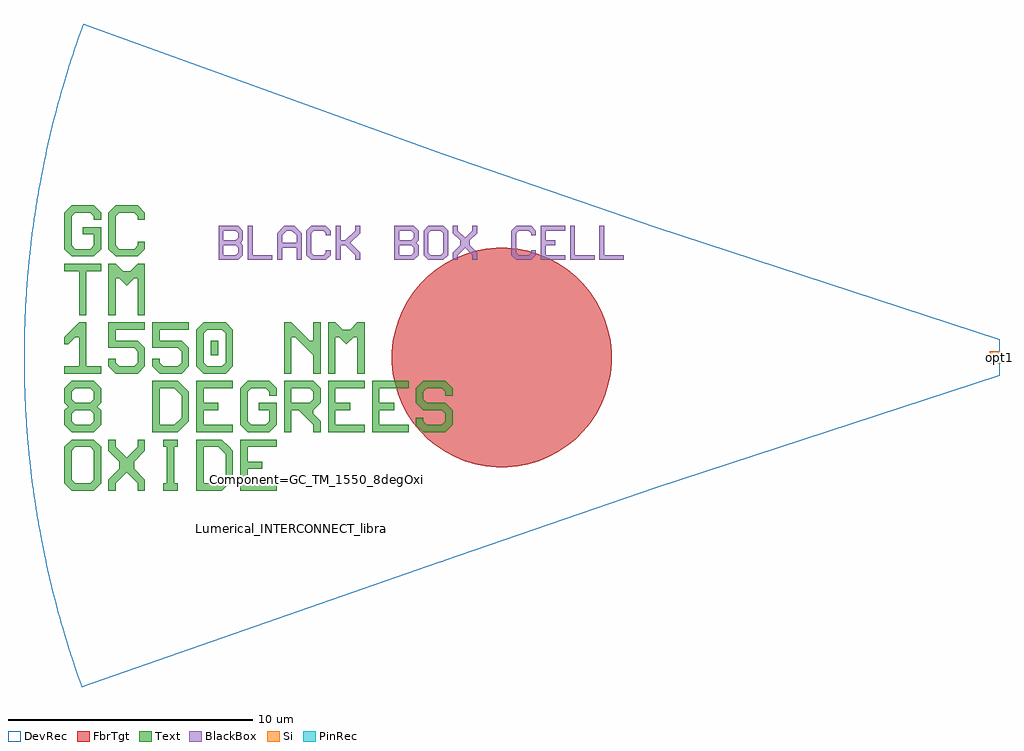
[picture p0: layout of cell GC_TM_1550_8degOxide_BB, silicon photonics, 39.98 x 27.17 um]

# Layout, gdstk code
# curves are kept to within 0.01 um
import gdstk
lib = gdstk.Library(unit=1e-6, precision=1e-09)
def R(c, l, rs):  # rectangles x0, y0, x1, y1
    for r in rs: c.add(gdstk.rectangle(r[:2], r[2:], *l))
def P(c, l, *ps):  # polygons
    for p in ps: c.add(gdstk.Polygon(p, *l))
Si = (1, 0)
PinRec = (1, 10)
Text = (10, 0)
DevRec = (68, 0)
FbrTgt = (81, 0)
BlackBox = (998, 0)

text = lib.new_cell('TEXT')
P(text, BlackBox, [(0,0),(0,1.4),(0.8,1.4),(1,1.2),(0.2,1.2),(0.2,0.8),(0.7,0.8),(0.8,0.9),(0.8,1.1),(0.7,1.2),(1,1.2),(1,0.8),(0.9,0.7),(1,0.6),(0.2,0.6),(0.2,0.2),(0.7,0.2),(0.8,0.3),(0.8,0.5),(0.7,0.6),(1,0.6),(1,0.2),(0.8,0)],
  [(1.2,0),(1.2,1.4),(1.4,1.4),(1.4,0.2),(2.2,0.2),(2.2,0)],
  [(2.4,0),(2.4,1.1),(2.7,1.4),(3.1,1.4),(3.3,1.2),(2.8,1.2),(2.6,1),(2.6,0.7),(3.2,0.7),(3.2,1),(3,1.2),(3.3,1.2),(3.4,1.1),(3.4,0),(3.2,0),(3.2,0.5),(2.6,0.5),(2.6,0)],
  [(3.8,0),(3.6,0.2),(3.6,1.2),(3.8,1.4),(4.4,1.4),(4.6,1.2),(4.6,1),(4.4,1),(4.4,1.1),(4.3,1.2),(3.9,1.2),(3.8,1.1),(3.8,0.3),(3.9,0.2),(4.3,0.2),(4.4,0.3),(4.4,0.4),(4.6,0.4),(4.6,0.2),(4.4,0)],
  [(4.8,0),(4.8,1.4),(5,1.4),(5,0.8),(5.2,0.8),(5.6,1.2),(5.6,1.4),(5.8,1.4),(5.8,1.1),(5.4,0.7),(5.8,0.3),(5.8,0),(5.6,0),(5.6,0.2),(5.2,0.6),(5,0.6),(5,0)],
  [(7.2,0),(7.2,1.4),(8,1.4),(8.2,1.2),(7.4,1.2),(7.4,0.8),(7.9,0.8),(8,0.9),(8,1.1),(7.9,1.2),(8.2,1.2),(8.2,0.8),(8.1,0.7),(8.2,0.6),(7.4,0.6),(7.4,0.2),(7.9,0.2),(8,0.3),(8,0.5),(7.9,0.6),(8.2,0.6),(8.2,0.2),(8,0)],
  [(8.6,0),(8.4,0.2),(8.4,1.2),(8.6,1.4),(9.2,1.4),(9.4,1.2),(9.4,0.7),(9.2,0.7),(9.2,1.1),(9.1,1.2),(8.7,1.2),(8.6,1.1),(8.6,0.3),(8.7,0.2),(9.1,0.2),(9.2,0.3),(9.2,0.7),(9.4,0.7),(9.4,0.2),(9.2,0)],
  [(9.6,0),(9.6,0.3),(9.9,0.6),(9.9,0.8),(9.6,1.1),(9.6,1.4),(9.8,1.4),(9.8,1.2),(10.1,0.9),(10.4,1.2),(10.4,1.4),(10.6,1.4),(10.6,1.1),(10.3,0.8),(10.3,0.6),(10.6,0.3),(10.6,0),(10.4,0),(10.4,0.2),(10.1,0.5),(9.8,0.2),(9.8,0)],
  [(12.2,0),(12,0.2),(12,1.2),(12.2,1.4),(12.8,1.4),(13,1.2),(13,1),(12.8,1),(12.8,1.1),(12.7,1.2),(12.3,1.2),(12.2,1.1),(12.2,0.3),(12.3,0.2),(12.7,0.2),(12.8,0.3),(12.8,0.4),(13,0.4),(13,0.2),(12.8,0)],
  [(13.2,0),(13.2,1.4),(14.2,1.4),(14.2,1.2),(13.4,1.2),(13.4,0.8),(13.8,0.8),(13.8,0.6),(13.4,0.6),(13.4,0.2),(14.2,0.2),(14.2,0)],
  [(14.4,0),(14.4,1.4),(14.6,1.4),(14.6,0.2),(15.4,0.2),(15.4,0)],
  [(15.6,0),(15.6,1.4),(15.8,1.4),(15.8,0.2),(16.6,0.2),(16.6,0)])

gc_tm_1550_8degoxide_bb = lib.new_cell('GC_TM_1550_8degOxide_BB')
R(gc_tm_1550_8degoxide_bb, Si, [(-0.4,-0.25,0,0.25)])
R(gc_tm_1550_8degoxide_bb, Text, [(-32.313,0.092,-32.013,0.692)])
P(gc_tm_1550_8degoxide_bb, Text, [(-37.713,1.742),(-37.713,3.542),(-38.313,3.542),(-38.313,3.842),(-36.813,3.842),(-36.813,3.542),(-37.413,3.542),(-37.413,1.742)],
  [(-38.013,-5.458),(-38.313,-5.158),(-38.313,-3.658),(-38.013,-3.358),(-37.113,-3.358),(-36.813,-3.658),(-36.813,-4.408),(-37.113,-4.408),(-37.113,-3.808),(-37.263,-3.658),(-37.863,-3.658),(-38.013,-3.808),(-38.013,-5.008),(-37.863,-5.158),(-37.263,-5.158),(-37.113,-5.008),(-37.113,-4.408),(-36.813,-4.408),(-36.813,-5.158),(-37.113,-5.458)],
  [(-31.113,-5.458),(-31.113,-3.358),(-29.613,-3.358),(-29.613,-3.658),(-30.813,-3.658),(-30.813,-4.258),(-30.213,-4.258),(-30.213,-4.558),(-30.813,-4.558),(-30.813,-5.158),(-29.613,-5.158),(-29.613,-5.458)],
  [(-32.913,-3.058),(-32.913,-0.958),(-31.413,-0.958),(-31.413,-1.258),(-32.613,-1.258),(-32.613,-1.858),(-32.013,-1.858),(-32.013,-2.158),(-32.613,-2.158),(-32.613,-2.758),(-31.413,-2.758),(-31.413,-3.058)],
  [(-27.513,-3.058),(-27.513,-0.958),(-26.013,-0.958),(-26.013,-1.258),(-27.213,-1.258),(-27.213,-1.858),(-26.613,-1.858),(-26.613,-2.158),(-27.213,-2.158),(-27.213,-2.758),(-26.013,-2.758),(-26.013,-3.058)],
  [(-25.713,-3.058),(-25.713,-0.958),(-24.213,-0.958),(-24.213,-1.258),(-25.413,-1.258),(-25.413,-1.858),(-24.813,-1.858),(-24.813,-2.158),(-25.413,-2.158),(-25.413,-2.758),(-24.213,-2.758),(-24.213,-3.058)],
  [(-29.313,-0.658),(-29.313,1.442),(-29.013,1.442),(-28.263,0.692),(-28.113,0.692),(-28.113,1.442),(-27.813,1.442),(-27.813,-0.658),(-28.113,-0.658),(-28.113,0.092),(-28.863,0.842),(-29.013,0.842),(-29.013,-0.658)],
  [(-34.263,-5.458),(-34.263,-5.158),(-34.113,-5.158),(-34.113,-3.658),(-34.263,-3.658),(-34.263,-3.358),(-33.663,-3.358),(-33.663,-3.658),(-33.813,-3.658),(-33.813,-5.158),(-33.663,-5.158),(-33.663,-5.458)],
  [(-36.213,4.142),(-36.513,4.442),(-36.513,5.942),(-36.213,6.242),(-35.313,6.242),(-35.013,5.942),(-35.013,5.642),(-35.313,5.642),(-35.313,5.792),(-35.463,5.942),(-36.063,5.942),(-36.213,5.792),(-36.213,4.592),(-36.063,4.442),(-35.463,4.442),(-35.313,4.592),(-35.313,4.742),(-35.013,4.742),(-35.013,4.442),(-35.313,4.142)],
  [(-27.513,-0.658),(-27.513,1.442),(-27.213,1.442),(-26.913,1.142),(-26.613,1.142),(-26.313,1.442),(-26.013,1.442),(-26.013,-0.658),(-26.313,-0.658),(-26.313,0.842),(-26.463,0.842),(-26.763,0.542),(-27.063,0.842),(-27.213,0.842),(-27.213,-0.658)],
  [(-36.513,1.742),(-36.513,3.842),(-36.213,3.842),(-35.913,3.542),(-35.613,3.542),(-35.313,3.842),(-35.013,3.842),(-35.013,1.742),(-35.313,1.742),(-35.313,3.242),(-35.463,3.242),(-35.763,2.942),(-36.063,3.242),(-36.213,3.242),(-36.213,1.742)],
  [(-32.613,-0.658),(-32.913,-0.358),(-32.913,1.142),(-32.613,1.442),(-31.713,1.442),(-31.413,1.142),(-32.463,1.142),(-32.613,0.992),(-32.613,-0.208),(-32.463,-0.358),(-31.863,-0.358),(-31.713,-0.208),(-31.713,0.992),(-31.863,1.142),(-31.413,1.142),(-31.413,-0.358),(-31.713,-0.658)],
  [(-32.913,-5.458),(-32.913,-3.358),(-31.863,-3.358),(-31.563,-3.658),(-32.613,-3.658),(-32.613,-5.158),(-32.013,-5.158),(-31.713,-4.858),(-31.713,-3.958),(-32.013,-3.658),(-31.563,-3.658),(-31.413,-3.808),(-31.413,-5.008),(-31.863,-5.458)],
  [(-34.713,-3.058),(-34.713,-0.958),(-33.663,-0.958),(-33.363,-1.258),(-34.413,-1.258),(-34.413,-2.758),(-33.813,-2.758),(-33.513,-2.458),(-33.513,-1.558),(-33.813,-1.258),(-33.363,-1.258),(-33.213,-1.408),(-33.213,-2.608),(-33.663,-3.058)],
  [(-23.613,-3.058),(-23.913,-2.758),(-23.913,-2.458),(-23.613,-2.458),(-23.613,-2.608),(-23.463,-2.758),(-22.863,-2.758),(-22.713,-2.608),(-22.713,-2.308),(-22.863,-2.158),(-23.613,-2.158),(-23.913,-1.858),(-23.913,-1.258),(-23.613,-0.958),(-22.713,-0.958),(-22.413,-1.258),(-22.413,-1.558),(-22.713,-1.558),(-22.713,-1.408),(-22.863,-1.258),(-23.463,-1.258),(-23.613,-1.408),(-23.613,-1.708),(-23.463,-1.858),(-22.713,-1.858),(-22.413,-2.158),(-22.413,-2.758),(-22.713,-3.058)],
  [(-36.213,-0.658),(-36.513,-0.358),(-36.513,-0.058),(-36.213,-0.058),(-36.213,-0.208),(-36.063,-0.358),(-35.463,-0.358),(-35.313,-0.208),(-35.313,0.242),(-35.463,0.392),(-36.513,0.392),(-36.513,1.442),(-35.013,1.442),(-35.013,1.142),(-36.213,1.142),(-36.213,0.692),(-35.313,0.692),(-35.013,0.392),(-35.013,-0.358),(-35.313,-0.658)],
  [(-34.413,-0.658),(-34.713,-0.358),(-34.713,-0.058),(-34.413,-0.058),(-34.413,-0.208),(-34.263,-0.358),(-33.663,-0.358),(-33.513,-0.208),(-33.513,0.242),(-33.663,0.392),(-34.713,0.392),(-34.713,1.442),(-33.213,1.442),(-33.213,1.142),(-34.413,1.142),(-34.413,0.692),(-33.513,0.692),(-33.213,0.392),(-33.213,-0.358),(-33.513,-0.658)],
  [(-38.013,-3.058),(-38.313,-2.758),(-38.313,-2.158),(-38.163,-2.008),(-38.313,-1.858),(-38.313,-1.258),(-38.013,-0.958),(-37.113,-0.958),(-36.813,-1.258),(-37.863,-1.258),(-38.013,-1.408),(-38.013,-1.708),(-37.863,-1.858),(-37.263,-1.858),(-37.113,-1.708),(-37.113,-1.408),(-37.263,-1.258),(-36.813,-1.258),(-36.813,-1.858),(-36.963,-2.008),(-36.813,-2.158),(-37.863,-2.158),(-38.013,-2.308),(-38.013,-2.608),(-37.863,-2.758),(-37.263,-2.758),(-37.113,-2.608),(-37.113,-2.308),(-37.263,-2.158),(-36.813,-2.158),(-36.813,-2.758),(-37.113,-3.058)],
  [(-38.313,-0.658),(-38.313,-0.358),(-37.713,-0.358),(-37.713,0.842),(-37.863,0.842),(-38.163,0.542),(-38.313,0.542),(-38.313,0.842),(-37.713,1.442),(-37.413,1.442),(-37.413,-0.358),(-36.813,-0.358),(-36.813,-0.658)],
  [(-36.513,-5.458),(-36.513,-5.008),(-36.063,-4.558),(-36.063,-4.258),(-36.513,-3.808),(-36.513,-3.358),(-36.213,-3.358),(-36.213,-3.658),(-35.763,-4.108),(-35.313,-3.658),(-35.313,-3.358),(-35.013,-3.358),(-35.013,-3.808),(-35.463,-4.258),(-35.463,-4.558),(-35.013,-5.008),(-35.013,-5.458),(-35.313,-5.458),(-35.313,-5.158),(-35.763,-4.708),(-36.213,-5.158),(-36.213,-5.458)],
  [(-30.813,-3.058),(-31.113,-2.758),(-31.113,-1.258),(-30.813,-0.958),(-29.913,-0.958),(-29.613,-1.258),(-29.613,-1.558),(-29.913,-1.558),(-29.913,-1.408),(-30.063,-1.258),(-30.663,-1.258),(-30.813,-1.408),(-30.813,-2.608),(-30.663,-2.758),(-30.063,-2.758),(-29.913,-2.608),(-29.913,-2.158),(-30.363,-2.158),(-30.363,-1.858),(-29.613,-1.858),(-29.613,-2.758),(-29.913,-3.058)],
  [(-38.013,4.142),(-38.313,4.442),(-38.313,5.942),(-38.013,6.242),(-37.113,6.242),(-36.813,5.942),(-36.813,5.642),(-37.113,5.642),(-37.113,5.792),(-37.263,5.942),(-37.863,5.942),(-38.013,5.792),(-38.013,4.592),(-37.863,4.442),(-37.263,4.442),(-37.113,4.592),(-37.113,5.042),(-37.563,5.042),(-37.563,5.342),(-36.813,5.342),(-36.813,4.442),(-37.113,4.142)],
  [(-29.313,-3.058),(-29.313,-0.958),(-28.113,-0.958),(-27.813,-1.258),(-29.013,-1.258),(-29.013,-1.858),(-28.263,-1.858),(-28.113,-1.708),(-28.113,-1.408),(-28.263,-1.258),(-27.813,-1.258),(-27.813,-1.858),(-28.113,-2.158),(-28.113,-2.308),(-27.813,-2.608),(-27.813,-3.058),(-28.113,-3.058),(-28.113,-2.758),(-28.713,-2.158),(-29.013,-2.158),(-29.013,-3.058)])
P(gc_tm_1550_8degoxide_bb, DevRec, [(-37.607,-13.5),(-38.153,-11.879),(-38.627,-10.245),(-39.011,-8.679),(-39.378,-6.832),(-39.536,-5.858),(-39.647,-5.058),(-39.835,-3.274),(-39.935,-1.661),(-39.962,-0.763),(-39.969,0.224),(-39.923,1.929),(-39.812,3.541),(-39.712,4.523),(-39.599,5.414),(-39.331,7.097),(-39.011,8.679),(-38.805,9.551),(-38.557,10.505),(-38.045,12.22),(-37.546,13.669),(-22.8,8.353),(-14.109,5.36),(0,0.75),(0,-0.75),(-14.109,-5.36),(-22.796,-8.351)])
P(gc_tm_1550_8degoxide_bb, FbrTgt, [(-20.621,-4.5),(-21.061,-4.457),(-21.495,-4.37),(-21.918,-4.242),(-22.326,-4.073),(-22.716,-3.864),(-23.084,-3.619),(-23.426,-3.338),(-23.738,-3.026),(-24.019,-2.684),(-24.264,-2.316),(-24.473,-1.926),(-24.642,-1.518),(-24.77,-1.095),(-24.857,-0.661),(-24.9,-0.221),(-24.9,0.221),(-24.857,0.661),(-24.77,1.095),(-24.642,1.518),(-24.473,1.926),(-24.264,2.316),(-24.019,2.684),(-23.738,3.026),(-23.426,3.338),(-23.084,3.619),(-22.716,3.864),(-22.326,4.073),(-21.918,4.242),(-21.495,4.37),(-21.061,4.457),(-20.621,4.5),(-20.179,4.5),(-19.739,4.457),(-19.305,4.37),(-18.882,4.242),(-18.474,4.073),(-18.084,3.864),(-17.716,3.619),(-17.374,3.338),(-17.062,3.026),(-16.781,2.684),(-16.536,2.316),(-16.327,1.926),(-16.158,1.518),(-16.03,1.095),(-15.943,0.661),(-15.9,0.221),(-15.9,-0.221),(-15.943,-0.661),(-16.03,-1.095),(-16.158,-1.518),(-16.327,-1.926),(-16.536,-2.316),(-16.781,-2.684),(-17.062,-3.026),(-17.374,-3.338),(-17.716,-3.619),(-18.084,-3.864),(-18.474,-4.073),(-18.882,-4.242),(-19.305,-4.37),(-19.739,-4.457),(-20.179,-4.5)])
gc_tm_1550_8degoxide_bb.add(gdstk.FlexPath([(-0.01,0),(0.01,0)], 0.5, ends="flush", simple_path=True, layer=1, datatype=10))  # PinRec
gc_tm_1550_8degoxide_bb.add(gdstk.Reference(text, (-32,4)))
gc_tm_1550_8degoxide_bb.add(gdstk.Label('Lumerical_INTERCONNECT_library=Design kits/ebeam', (-29,-7), layer=68, texttype=0))
gc_tm_1550_8degoxide_bb.add(gdstk.Label('Component=GC_TM_1550_8degOxide_BB', (-28,-5), layer=68, texttype=0))
gc_tm_1550_8degoxide_bb.add(gdstk.Label('opt1', (0,0), layer=1, texttype=10))

lib.write_gds('GC_TM_1550_8degOxide_BB.gds')
